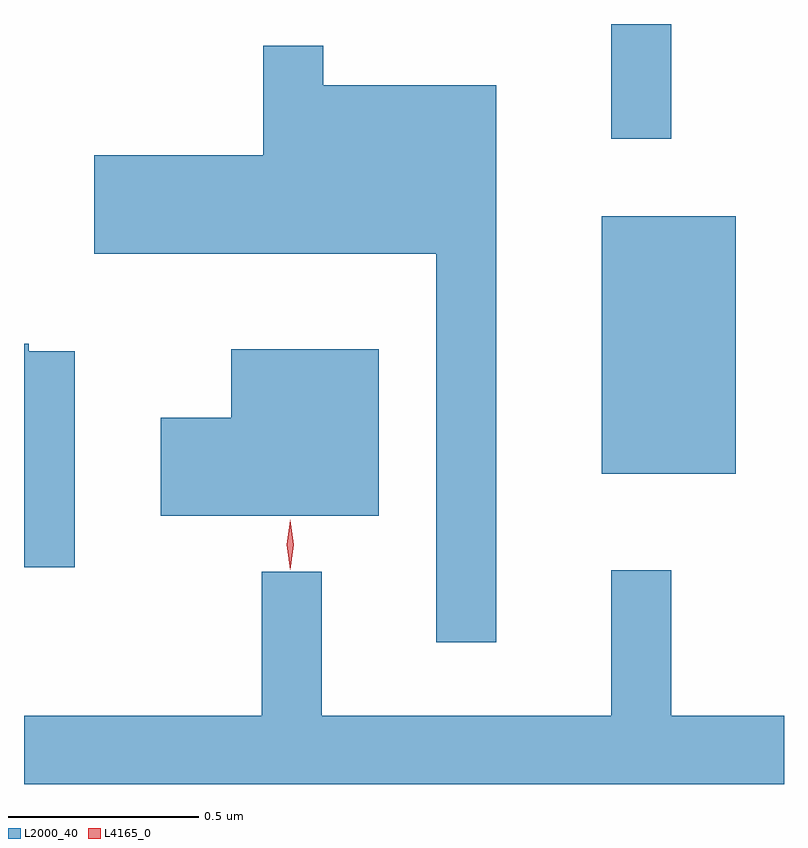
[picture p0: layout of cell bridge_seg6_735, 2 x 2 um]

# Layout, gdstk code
import gdstk
lib = gdstk.Library(unit=1e-6, precision=1e-09)
def R(c, l, rs):  # rectangles x0, y0, x1, y1
    for r in rs: c.add(gdstk.rectangle(r[:2], r[2:], *l))
def P(c, l, *ps):  # polygons
    for p in ps: c.add(gdstk.Polygon(p, *l))
L2000_40 = (2000, 40)
L4165_0 = (4165, 0)

bridge_seg6_735 = lib.new_cell('bridge_seg6_735')
R(bridge_seg6_735, L2000_40, [(242.531,1539.841,242.884,1540.519), (242.556,1540.723,242.714,1541.025)])
P(bridge_seg6_735, L2000_40, [(242.254,1540.864),(241.799,1540.864),(241.799,1540.968),(241.641,1540.968),(241.641,1540.679),(241.196,1540.679),(241.196,1540.421),(242.096,1540.421),(242.096,1539.398),(242.254,1539.398)],
  [(241.144,1540.164),(241.024,1540.164),(241.024,1540.184),(241.011,1540.184),(241.011,1539.596),(241.144,1539.596)],
  [(241.944,1540.169),(241.556,1540.169),(241.556,1539.989),(241.371,1539.989),(241.371,1539.731),(241.944,1539.731)],
  [(243.011,1539.204),(242.714,1539.204),(242.714,1539.588),(242.556,1539.588),(242.556,1539.204),(241.794,1539.204),(241.794,1539.583),(241.636,1539.583),(241.636,1539.204),(241.011,1539.204),(241.011,1539.025),(243.011,1539.025)])
P(bridge_seg6_735, L4165_0, [(241.711,1539.589),(241.702,1539.654),(241.711,1539.719),(241.711,1539.72),(241.712,1539.719),(241.721,1539.654),(241.712,1539.589),(241.712,1539.589)])

lib.write_gds('bridge_seg6_735.gds')
